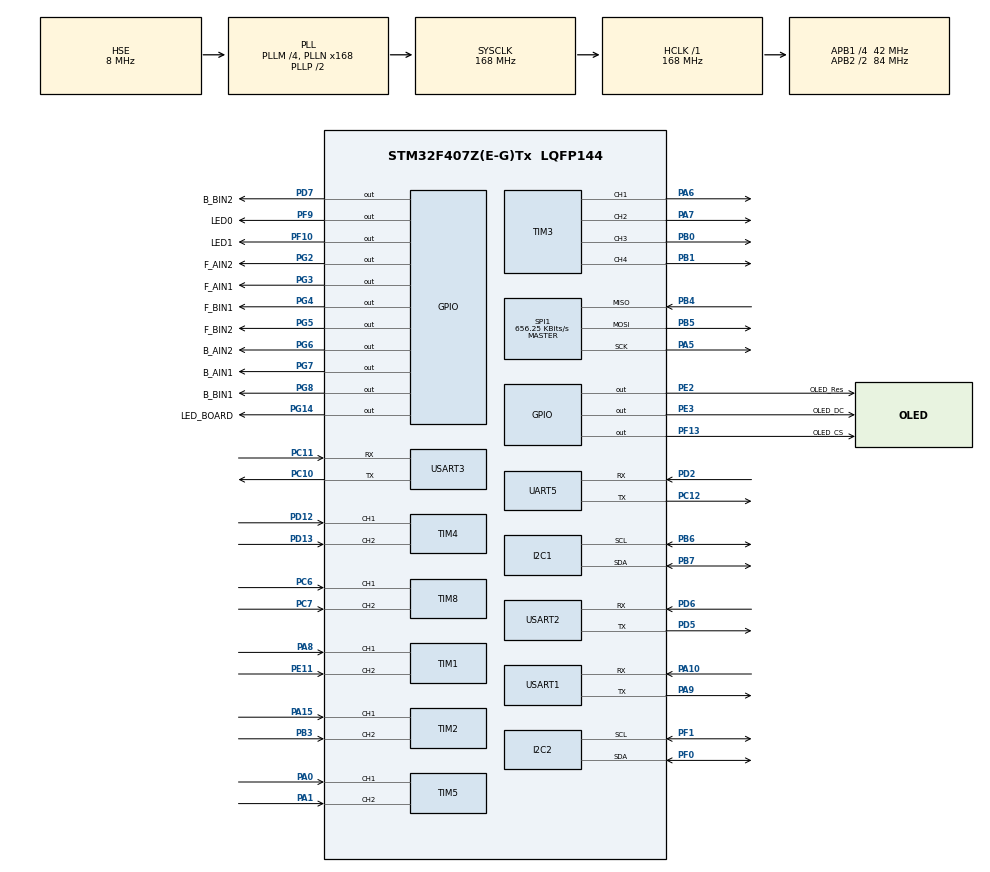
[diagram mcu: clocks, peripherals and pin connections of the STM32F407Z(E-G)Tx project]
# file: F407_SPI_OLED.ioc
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Mcu.Family=STM32F4
PH0-OSC_IN.Signal=RCC_OSC_IN
RCC.CortexFreq_Value=168000000
TIM2.Channel-Input_Capture1_from_TI1=TIM_CHANNEL_1
PG6.Signal=GPIO_Output
SPI1.VirtualType=VM_MASTER
PG2.Signal=GPIO_Output
PG4.Signal=GPIO_Output
PG8.Signal=GPIO_Output
PC10.Signal=USART3_TX
PC12.Signal=UART5_TX
PG6.GPIO_Label=B_AIN2
SH.S_TIM5_CH2.0=TIM5_CH2,Input_Capture2_from_TI2
PE2.GPIO_Speed=GPIO_SPEED_FREQ_HIGH
PF9.GPIO_Speed=GPIO_SPEED_FREQ_HIGH
PG5.GPIO_Label=F_BIN2
PF10.GPIO_PuPd=GPIO_PULLUP
TIM3.Channel-PWM\ Generation4\ CH4=TIM_CHANNEL_4
RCC.SYSCLKSource=RCC_SYSCLKSOURCE_PLLCLK
ProjectManager.StackSize=0x400
TIM4.Channel-Input_Capture1_from_TI1=TIM_CHANNEL_1
PD13.Signal=S_TIM4_CH2
SPI1.Direction=SPI_DIRECTION_2LINES
RCC.HCLKFreq_Value=168000000
RCC.APB2TimFreq_Value=168000000
PF13.GPIO_Speed=GPIO_SPEED_FREQ_HIGH
PB6.Signal=I2C1_SCL
PC7.Signal=S_TIM8_CH2
PB6.Mode=I2C
SPI1.CalculateBaudRate=656.25 KBits/s
PF10.GPIO_Label=LED1
RCC.AHBFreq_Value=168000000
PH0-OSC_IN.Mode=HSE-External-Oscillator
Dma.USART1_RX.0.Priority=DMA_PRIORITY_VERY_HIGH
PD5.Mode=Asynchronous
TIM3.Channel-PWM\ Generation1\ CH1=TIM_CHANNEL_1
RCC.HSE_VALUE=8000000
PB4.Mode=Full_Duplex_Master
PA14.Mode=Serial_Wire
PB5.Mode=Full_Duplex_Master
PG4.GPIO_Label=F_BIN1
SH.S_TIM4_CH2.0=TIM4_CH2,Input_Capture2_from_TI2
PE2.Signal=GPIO_Output
PB7.Signal=I2C1_SDA
PA8.Signal=S_TIM1_CH1
SH.S_TIM3_CH1.0=TIM3_CH1,PWM Generation1 CH1
Dma.USART1_RX.0.MemInc=DMA_MINC_ENABLE
TIM5.Channel-Input_Capture1_from_TI1=TIM_CHANNEL_1
TIM1.Channel-Input_Capture2_from_TI2=TIM_CHANNEL_2
PD7.GPIO_Label=B_BIN2
PH1-OSC_OUT.Mode=HSE-External-Oscillator
Mcu.Package=LQFP144
PB1.Signal=S_TIM3_CH4
PA6.Signal=S_TIM3_CH1
USART2.VirtualMode=VM_ASYNC
PD12.Signal=S_TIM4_CH1
TIM2.Channel-Input_Capture2_from_TI2=TIM_CHANNEL_2
PA10.Signal=USART1_RX
PA15.Signal=S_TIM2_CH1_ETR
PC11.Mode=Asynchronous
Dma.USART1_RX.0.FIFOMode=DMA_FIFOMODE_DISABLE
RCC.APB2CLKDivider=RCC_HCLK_DIV2
NVIC.DMA2_Stream2_IRQn=true\:0\:0\:false\:false\:true\:false\:true
SH.S_TIM4_CH1.0=TIM4_CH1,Input_Capture1_from_TI1
RCC.APB1TimFreq_Value=84000000
SH.S_TIM5_CH1.0=TIM5_CH1,Input_Capture1_from_TI1
Dma.USART1_RX.0.Mode=DMA_CIRCULAR
PF0.Signal=I2C2_SDA
PF9.GPIO_PuPd=GPIO_NOPULL
NVIC.USART1_IRQn=true\:0\:0\:false\:false\:true\:true\:true
PD6.Signal=USART2_RX
Dma.Request0=USART1_RX
SPI1.BaudRatePrescaler=SPI_BAUDRATEPRESCALER_128
PE2.GPIO_Label=OLED_Res
Dma.USART1_RX.0.Instance=DMA2_Stream2
PB4.Signal=SPI1_MISO
PG2.GPIO_Label=F_AIN2
PA5.Mode=Full_Duplex_Master
RCC.PLLSourceVirtual=RCC_PLLSOURCE_HSE
PG7.Signal=GPIO_Output
Dma.USART1_RX.0.PeriphDataAlignment=DMA_PDATAALIGN_BYTE
PA10.Mode=Asynchronous
PG3.Signal=GPIO_Output
PG5.Signal=GPIO_Output
PC11.Signal=USART3_RX
PF10.GPIO_Speed=GPIO_SPEED_FREQ_HIGH
PC6.Signal=S_TIM8_CH1
PC10.Mode=Asynchronous
PA8.Stacked=true
PD7.Signal=GPIO_Output
TIM8.Channel-Input_Capture1_from_TI1=TIM_CHANNEL_1
PD5.Signal=USART2_TX
UART5.VirtualMode=Asynchronous
RCC.APB1CLKDivider=RCC_HCLK_DIV4
PD6.Mode=Asynchronous
SH.S_TIM3_CH3.0=TIM3_CH3,PWM Generation3 CH3
PF13.GPIO_Label=OLED_CS
TIM4.Channel-Input_Capture2_from_TI2=TIM_CHANNEL_2
SH.S_TIM8_CH2.0=TIM8_CH2,Input_Capture2_from_TI2
PA0-WKUP.Signal=S_TIM5_CH1
TIM5.Channel-Input_Capture2_from_TI2=TIM_CHANNEL_2
PG8.GPIO_Label=B_BIN1
PA13.Signal=SYS_JTMS-SWDIO
TIM3.Channel-PWM\ Generation3\ CH3=TIM_CHANNEL_3
PF1.Mode=I2C
SH.S_TIM2_CH2.0=TIM2_CH2,Input_Capture2_from_TI2
PA9.Mode=Asynchronous
SH.S_TIM1_CH1.0=TIM1_CH1,Input_Capture1_from_TI1
ProjectManager.TargetToolchain=STM32CubeIDE
PF9.PinState=GPIO_PIN_SET
Dma.USART1_RX.0.Direction=DMA_PERIPH_TO_MEMORY
PA9.Signal=USART1_TX
PF9.GPIO_Label=LED0
PE11.Signal=S_TIM1_CH2
RCC.LSE_VALUE=32768
PA1.Signal=S_TIM5_CH2
Dma.USART1_RX.0.PeriphInc=DMA_PINC_DISABLE
PD2.Mode=Asynchronous
PE2.GPIO_PuPd=GPIO_PULLDOWN
PA5.Signal=SPI1_SCK
SH.S_TIM3_CH2.0=TIM3_CH2,PWM Generation2 CH2
PG14.Signal=GPIO_Output
SH.S_TIM8_CH1.0=TIM8_CH1,Input_Capture1_from_TI1
PC12.Mode=Asynchronous
board=custom
RCC.VCOOutputFreq_Value=336000000
PF13.GPIO_PuPd=GPIO_PULLDOWN
RCC.APB2Freq_Value=84000000
SH.S_TIM1_CH2.0=TIM1_CH2,Input_Capture2_from_TI2
SPI1.Mode=SPI_MODE_MASTER
PF10.Signal=GPIO_Output
PG7.GPIO_Label=B_AIN1
PH1-OSC_OUT.Signal=RCC_OSC_OUT
Dma.USART1_RX.0.MemDataAlignment=DMA_MDATAALIGN_BYTE
PF13.Signal=GPIO_Output
PF1.Signal=I2C2_SCL
PA13.Mode=Serial_Wire
PG14.GPIO_Label=LED_BOARD
Mcu.Name=STM32F407Z(E-G)Tx
RCC.48MHZClocksFreq_Value=84000000
PB3.Signal=S_TIM2_CH2
RCC.SYSCLKFreq_VALUE=168000000
PB5.Signal=SPI1_MOSI
USART3.VirtualMode=VM_ASYNC
TIM1.Channel-Input_Capture1_from_TI1=TIM_CHANNEL_1
USART1.VirtualMode=VM_ASYNC
PB7.Mode=I2C
SH.S_TIM2_CH1_ETR.0=TIM2_CH1,Input_Capture1_from_TI1
PA14.Signal=SYS_JTCK-SWCLK
ProjectManager.HeapSize=0x200
PF0.Mode=I2C
PF9.Signal=GPIO_Output
RCC.HSI_VALUE=16000000
PF9.GPIO_ModeDefaultOutputPP=GPIO_MODE_OUTPUT_PP
NVIC.PriorityGroup=NVIC_PRIORITYGROUP_4
TIM3.Channel-PWM\ Generation2\ CH2=TIM_CHANNEL_2
RCC.PLLM=4
RCC.PLLN=168
TIM8.Channel-Input_Capture2_from_TI2=TIM_CHANNEL_2
PE3.Signal=GPIO_Output
PE3.GPIO_Label=OLED_DC
PG3.GPIO_Label=F_AIN1
PD2.Signal=UART5_RX
RCC.APB1Freq_Value=42000000
PF10.PinState=GPIO_PIN_SET
PB0.Signal=S_TIM3_CH3
SH.S_TIM3_CH4.0=TIM3_CH4,PWM Generation4 CH4
PA7.Signal=S_TIM3_CH2

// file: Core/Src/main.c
/* USER CODE BEGIN Header */
/**
 ******************************************************************************
 * @file           : main.c
 * @brief          : Main program body
 ******************************************************************************
 * @attention
 *
 * <h2><center>&copy; Copyright (c) 2021 STMicroelectronics.
 * All rights reserved.</center></h2>
 *
 * This software component is licensed by ST under BSD 3-Clause license,
 * the "License"; You may not use this file except in compliance with the
 * License. You may obtain a copy of the License at:
 *                        opensource.org/licenses/BSD-3-Clause
 *
 ******************************************************************************
 */
/* USER CODE END Header */
#include "main.h"
#include "dma.h"
#include "i2c.h"
#include "spi.h"
#include "tim.h"
#include "usart.h"
#include "gpio.h"

/* USER CODE BEGIN Includes */
#include "ssd1306_conf.h"
#include "ssd1306_fonts.h"
#include "ssd1306.h"
#include <string.h>
#include <stdio.h>
#include <stdlib.h>

#define BUFFER_SIZE 32
/* USER CODE END Includes */

void SystemClock_Config(void);

/* USER CODE BEGIN 0 */
uint8_t receive_buff[BUFFER_SIZE] = {0}; //数据接收缓存�?
//每次接收之后将缓存区中的数据写入coordinate中，并将缓存区清�?
uint16_t coordinate_XY[32][2] = {0};
uint8_t i = 0;
/* USER CODE END 0 */

int main(void)
{

	/* MCU Configuration--------------------------------------------------------*/

	/* Reset of all peripherals, Initializes the Flash interface and the Systick. */
	HAL_Init();

	/* Configure the system clock */
	SystemClock_Config();

	/* Initialize all configured peripherals */
	MX_GPIO_Init();
	MX_DMA_Init();
	MX_I2C1_Init();
	MX_I2C2_Init();
	MX_TIM3_Init();
	MX_TIM4_Init();
	MX_USART1_UART_Init();
	MX_USART2_UART_Init();
	MX_USART3_UART_Init();
	MX_TIM5_Init();
	MX_TIM2_Init();
	MX_TIM8_Init();
	MX_SPI1_Init();
	MX_TIM1_Init();
	MX_UART5_Init();
	/* USER CODE BEGIN 2 */
	ssd1306_Init();

//	int sec = 0;
	char sec_str[5];
	/* USER CODE END 2 */

	/* Infinite loop */
	/* USER CODE BEGIN WHILE */
	while (1)
	{
//		coordinate_XY
				itoa(coordinate_XY[i][0],sec_str,10);//数字转化�??
				ssd1306_SetCursor(25,15);
				ssd1306_WriteString(sec_str,Font_16x26,White);
//				HAL_Delay(1000);
				ssd1306_UpdateScreen();
				ssd1306_Fill(Black);
//				if(sec<9){
//					sec++;
//				}
//				else{
//					sec = 0 ;
//				}
		/* USER CODE END WHILE */

	}
}

void SystemClock_Config(void)
{
	RCC_OscInitTypeDef RCC_OscInitStruct = {0};
	RCC_ClkInitTypeDef RCC_ClkInitStruct = {0};

	/** Configure the main internal regulator output voltage
	 */
	__HAL_RCC_PWR_CLK_ENABLE();
	__HAL_PWR_VOLTAGESCALING_CONFIG(PWR_REGULATOR_VOLTAGE_SCALE1);
	/** Initializes the RCC Oscillators according to the specified parameters
	 * in the RCC_OscInitTypeDef structure.
	 */
	RCC_OscInitStruct.OscillatorType = RCC_OSCILLATORTYPE_HSE;
	RCC_OscInitStruct.HSEState = RCC_HSE_ON;
	RCC_OscInitStruct.PLL.PLLState = RCC_PLL_ON;
	RCC_OscInitStruct.PLL.PLLSource = RCC_PLLSOURCE_HSE;
	RCC_OscInitStruct.PLL.PLLM = 4;
	RCC_OscInitStruct.PLL.PLLN = 168;
	RCC_OscInitStruct.PLL.PLLP = RCC_PLLP_DIV2;
	RCC_OscInitStruct.PLL.PLLQ = 4;
	if (HAL_RCC_OscConfig(&RCC_OscInitStruct) != HAL_OK)
	{
		Error_Handler();
	}
	/** Initializes the CPU, AHB and APB buses clocks
	 */
	RCC_ClkInitStruct.ClockType = RCC_CLOCKTYPE_HCLK|RCC_CLOCKTYPE_SYSCLK
			|RCC_CLOCKTYPE_PCLK1|RCC_CLOCKTYPE_PCLK2;
	RCC_ClkInitStruct.SYSCLKSource = RCC_SYSCLKSOURCE_PLLCLK;
	RCC_ClkInitStruct.AHBCLKDivider = RCC_SYSCLK_DIV1;
	RCC_ClkInitStruct.APB1CLKDivider = RCC_HCLK_DIV4;
	RCC_ClkInitStruct.APB2CLKDivider = RCC_HCLK_DIV2;

	if (HAL_RCC_ClockConfig(&RCC_ClkInitStruct, FLASH_LATENCY_5) != HAL_OK)
	{
		Error_Handler();
	}
}

/* USER CODE BEGIN 4 */
// 须在头文件中添加 #include <stdio.h>
//////////////////////////////////////////////////////////////////
// 加入以下代码,支持printf函数,而不需要选择use MicroLIB
// MDK中同样定义了 __GNUC__，使用__ARMCC_VERSION 或  __CC_ARM 区分MDK和STM32CubeIDE
// MDK预定义宏，详见 ：https://www.keil.com/support/man/docs/armcc/armcc_chr1359125007083.htm
#ifdef __CC_ARM // 或 #ifdef __ARMCC_VERSION
  #define PUTCHAR_PROTOTYPE int fputc(int ch, FILE *f)
#else
#define PUTCHAR_PROTOTYPE int __io_putchar(int ch)
#endif
#if 1

FILE __stdout;
//定义_sys_exit()以避免使用半主机模式
void _sys_exit(int x) {
	x = x;
}
//重定义fputc函数
PUTCHAR_PROTOTYPE {
	// 具体哪个串口可以更改huart2为其它串口
	// HAL_UART_Transmit(&huart2, (uint8_t *)&ch, 1 , 0xffff);
	while ((USART1->SR & 0X40) == 0) {
	}; //循环发送,直到发送完毕
	USART1->DR = (uint8_t) ch;

//  while ((USART2->SR & 0X40) == 0) {
//  }; //循环发送,直到发送完毕
//  USART2->DR = (uint8_t) ch;

	return ch;
}
#endif
/* USER CODE END 4 */

void Error_Handler(void)
{
	__disable_irq();
	while (1)
	{
	}
}

/************************ (C) COPYRIGHT STMicroelectronics *****END OF FILE****/
